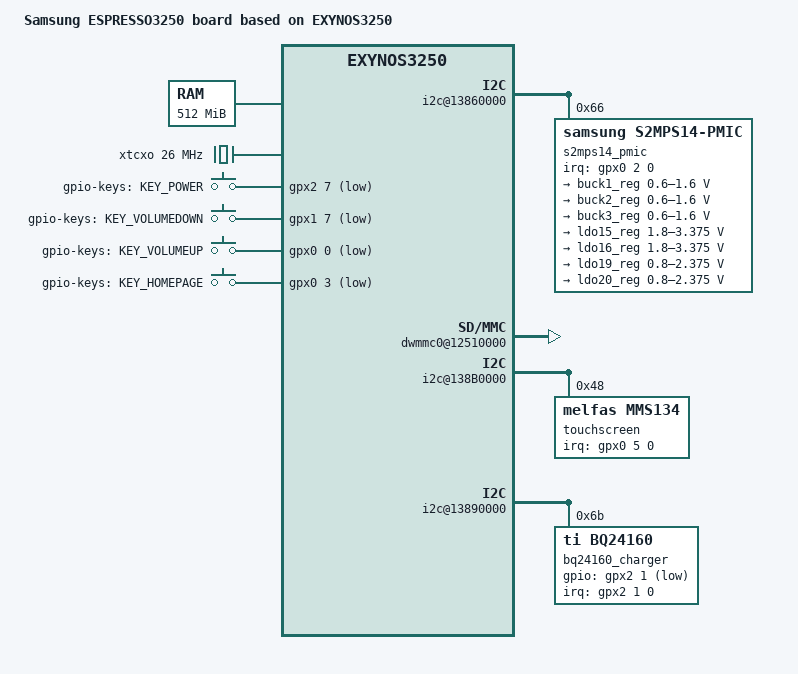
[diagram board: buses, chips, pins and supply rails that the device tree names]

/*
 * SAMSUNG ESPRESSO3250 board device tree source
 *
 * Copyright (c) 2014 Samsung Electronics Co., Ltd.
 *		http://www.samsung.com
 *
 * This program is free software; you can redistribute it and/or modify
 * it under the terms of the GNU General Public License version 2 as
 * published by the Free Software Foundation.
*/

/dts-v1/;
#include "exynos3250.dtsi"


/ {
	model = "Samsung ESPRESSO3250 board based on EXYNOS3250";
	compatible = "samsung,ESPRESSO3250", "samsung,exynos3250";

	chosen {
		bootargs = "console=ttySAC2,115200 vmalloc=256M";
	};

	memory {
		reg = <0x40000000 0x20000000>;
	};

	fixed-rate-clocks {
		#address-cells = <1>;
		#size-cells = <0>;

		xrtcxti: clock@0 {
			compatible = "fixed-clock";
			reg = <0>;
			clock-frequency = <32768>;
			#clock-cells = <0>;
			clock-output-names = "xrtcxti";
		};

		xusbxti: clock@1 {
			compatible = "fixed-clock";
			clock-frequency = <24000000>;
			reg = <1>;
			#clock-cells = <0>;
			clock-output-names = "xusbxti";
		};

		xxti: clock@2 {
			compatible = "fixed-clock";
			reg = <2>;
			clock-frequency = <0>;
			#clock-cells = <0>;
			clock-output-names = "xxti";
			};

		xtcxo: clock@3 {
			compatible = "fixed-clock";
			reg = <3>;
			clock-frequency = <26000000>;
			#clock-cells = <0>;
			clock-output-names = "xtcxo";
		};
	};

	gpio_keys {
		compatible = "gpio-keys";
		#address-cells = <1>;
		#size-cells = <0>;

		button@1 {
			label = "gpio-keys: KEY_POWER";
			linux,code = <116>;
			gpios = <&gpx2 7 0x1>;
			gpio-key,wakeup = <1>;
			debounce-interval = <0>;
		};

		button@2 {
			label = "gpio-keys: KEY_VOLUMEDOWN";
			linux,code = <114>;
			gpios = <&gpx1 7 0x1>;
			debounce-interval = <0>;
		};

		button@3 {
			label = "gpio-keys: KEY_VOLUMEUP";
			linux,code = <115>;
			gpios = <&gpx0 0 0x1>;
			debounce-interval = <0>;
		};

		button@4 {
			label = "gpio-keys: KEY_HOMEPAGE";
			linux,code = <172>;
			gpios = <&gpx0 3 0x1>;
			debounce-interval = <0>;
		};
	};

	i2c@13860000 {
		status = "okay";
		samsung,i2c-sda-delay = <100>;
		samsung,i2c-max-bus-freq = <400000>;
		#size-cells = <0>;

		s2mps14_pmic@66 {
			compatible = "samsung,s2mps14-pmic";
			reg = <0x66>;
			interrupts = <2 0 0>;
			interrupt-parent = <&gpx0>;
			pinctrl-names = "default";
			pinctrl-0 = <&pmic_irq &pm_wrsti>;
			/* RTC: wtsr/smpl */
                        wtsr_en = <1>; /* enable */
                        smpl_en = <1>; /* enable */
                        wtsr_timer_val = <3>;   /* 1000ms */
                        smpl_timer_val = <4>;   /* 500ms */
                        check_jigon = <0>; /* do not check jigon */
                        /* RTC: If it's first boot, reset rtc to 1/1/2014 12:00:00(Wed) */
                        init_time,sec = <0>;
                        init_time,min = <0>;
                        init_time,hour = <12>;
                        init_time,mday = <1>;
                        init_time,mon = <0>;
                        init_time,year = <114>;
                        init_time,wday = <3>;

			regulators {
				buck1_reg: BUCK1 {
					regulator-name = "vdd_mif";
					regulator-min-microvolt = <600000>;
					regulator-max-microvolt = <1600000>;
					regulator-always-on;
					regulator-boot-on;
					regulator-ramp-delay = <12000>;
					regulator-initial-mode = <1>;
				};

				buck2_reg: BUCK2 {
					regulator-name = "vdd_arm";
					regulator-min-microvolt = <600000>;
					regulator-max-microvolt = <1600000>;
					regulator-always-on;
					regulator-boot-on;
					regulator-ramp-delay = <12000>;
					regulator-initial-mode = <1>;
				};

				buck3_reg: BUCK3 {
					regulator-name = "vdd_int";
					regulator-min-microvolt = <600000>;
					regulator-max-microvolt = <1600000>;
					regulator-always-on;
					regulator-boot-on;
					regulator-ramp-delay = <12000>;
					regulator-initial-mode = <1>;
				};

				ldo15_reg: LDO15 {
					regulator-name = "vdd_tsp_3.3";
					regulator-min-microvolt = <1800000>;
					regulator-max-microvolt = <3375000>;
					regulator-always-on;
					regulator-boot-on;
					regulator-ramp-delay = <12000>;
					regulator-initial-mode = <1>;
				};

				ldo16_reg: LDO16 {
					regulator-name = "vdd_lcd_3.3";
					regulator-min-microvolt = <1800000>;
					regulator-max-microvolt = <3375000>;
					regulator-always-on;
					regulator-boot-on;
					regulator-ramp-delay = <12000>;
					regulator-initial-mode = <1>;
				};

				ldo19_reg: LDO19 {
					regulator-name = "vdd_tsp_1.8";
					regulator-min-microvolt = <800000>;
					regulator-max-microvolt = <2375000>;
					regulator-always-on;
					regulator-boot-on;
					regulator-ramp-delay = <12000>;
					regulator-initial-mode = <1>;
				};
				ldo20_reg: LDO20 {
					regulator-name = "vdd_lcd_1.8";
					regulator-min-microvolt = <800000>;
					regulator-max-microvolt = <2375000>;
					regulator-always-on;
					regulator-boot-on;
					regulator-ramp-delay = <12000>;
					regulator-initial-mode = <1>;
				};
			};
		};
	};

	dwmmc0@12510000 {
		status = "okay";
		num-slots = <1>;
		broken-cd;
		bypass-smu;
		fixed_volt;
		only_once_tune;
		extra_tuning;
		supports-highspeed;
		enable-cache-control;
		sw_data_timeout;
		fifo-depth = <0x80>;
		card-detect-delay = <200>;
		samsung,dw-mshc-ciu-div = <3>;
		samsung,dw-mshc-sdr-timing = <3 0 2 1>;
		samsung,dw-mshc-ddr-timing = <3 0 4 2>;
		samsung,dw-mshc-hs200-timing = <3 0 2 0>;
		samsung,dw-mshc-ddr200-timing = <1 1 2 0>;
		clk_pin = "gpk0-0";
		clk_addr = "11000000.pinctrl";
		clk_val = <0x3>;
		num-ref-clks = <8>;
		ciu_clkin = <50 50 50 100 100 100 100 200>;
		pinctrl-names = "default";
		pinctrl-0 = <&sd0_clk &sd0_cmd &sd0_bus1 &sd0_bus4 &sd0_bus8>;

		slot@0 {
			reg = <0>;
			bus-width = <8>;
		};
	};

        ion {
                compatible = "samsung,exynos5430-ion";

		contig-names = "mfc_sh",
				"video",
				"mfc_fw",
				"mfc_nfw";

		contig = <2 0x100000 0x0>,
			<11 0xA00000 0x0>,
			<8 0x100000 0x0>,
			<12 0x100000 0x0>;

                ion_noncontig_heap {
                        id-type = <0 0>;
                };

		exynos_contig_heap {
			id-type = <4 6>;
		};

        };

	i2c@138B0000 {
		samsung,i2c-sda-delay = <100>;
		samsung,i2c-max-bus-freq = <400000>;
		#size-cells = <0>;
		status = "okay";

		touchscreen@48 {
			compatible = "melfas, mms134";
			reg = <0x48>;
			interrupts = <5 0 0>;
			interrupt-parent = <&gpx0>;
			max_x = <480>;
			max_y = <800>;
		};
	};

	i2c@13890000 {
		samsung,i2c-sda-delay = <100>;
		samsung,i2c-max-bus-freq = <400000>;
		#address-cells = <1>;
		#size-cells = <0>;
		status = "okay";

		bq24160_charger@6b {
			compatible = "ti,bq24160";
			reg = <0x6b>;
			gpios = <&gpx2 1 1>;
			interrupts = <1 0 0>;
			interrupt-parent = <&gpx2>;
			pinctrl-names = "default";
			pinctrl-0 = <&chg_irq>;
			dev_name = "bq24160";
			support_boot_charging = <0>;
		};
	};

	sysreg_localout: sysreg_localout@10010000 {
		compatible = "samsung,exynos5-sysreg_localout";
		reg = <0x10010000 0x2000>;
	};

	mdev_0: mdev_output {
		compatible = "samsung,exynos5-mdev";
	};

	 fimd_fb: fimd_fb {
                /* gpx0[6]- TE external interrupt pin */
                gpios = <&gpx0 4 0xf>;
                fimd: fimd_ctrl {
                        samsung,left_margin = <1>;
                        samsung,right_margin = <1>;
                        samsung,upper_margin = <1>;
                        samsung,lower_margin = <1>;
                        samsung,hsync_len = <1>;
                        samsung,vsync_len = <1>;
                        samsung,xres = <480>;
                        samsung,yres = <800>;
                        samsung,virtual_x = <480>;
                        samsung,virtual_y = <800>;

                        samsung,width = <56>;
                        samsung,height = <94>;
                        samsung,max_bpp = <32>;
                        samsung,default_bpp = <24>;

                        fb_driver_data {
                                fb_win_variant_0 {
                                        has_osd_c = <1>;
                                        has_osd_d = <0>;
                                        has_osd_alpha = <0>;
                                        osd_size_off = <0x08>;
                                        palette_size = <256>;
                                        VALID_BPP_1248 = <1>;
                                        VALID_BPP_13 = <1>;
                                        VALID_BPP_15 = <1>;
                                        VALID_BPP_16 = <1>;
                                        VALID_BPP_18 = <1>;
                                        VALID_BPP_19 = <1>;
                                        VALID_BPP_24 = <1>;
                                        VALID_BPP_25 = <1>;
                                        VALID_BPP_32 = <1>;
                                };
                                fb_win_variant_1 {
                                        has_osd_c = <1>;
                                        has_osd_d = <1>;
                                        has_osd_alpha = <1>;
                                        osd_size_off = <0x0c>;
                                        palette_size = <256>;
                                        VALID_BPP_1248 = <1>;
                                        VALID_BPP_13 = <1>;
                                        VALID_BPP_15 = <1>;
                                        VALID_BPP_16 = <1>;
                                        VALID_BPP_18 = <1>;
                                        VALID_BPP_19 = <1>;
                                        VALID_BPP_24 = <1>;
                                        VALID_BPP_25 = <1>;
                                        VALID_BPP_32 = <1>;
                                };
                                fb_win_variant_2 {
                                        has_osd_c = <1>;
                                        has_osd_d = <1>;
                                        has_osd_alpha = <1>;
                                        osd_size_off = <0x0c>;
                                        palette_size = <256>;
                                        VALID_BPP_1248 = <1>;
                                        VALID_BPP_13 = <1>;
                                        VALID_BPP_15 = <1>;
                                        VALID_BPP_16 = <1>;
                                        VALID_BPP_18 = <1>;
                                        VALID_BPP_19 = <1>;
                                        VALID_BPP_24 = <1>;
                                        VALID_BPP_25 = <1>;
                                        VALID_BPP_32 = <1>;
                                };
                                fb_win_variant_3 {
                                        has_osd_c = <1>;
                                        has_osd_d = <0>;
                                        has_osd_alpha = <1>;
                                        osd_size_off = <0x0>;
                                        palette_size = <256>;
                                        VALID_BPP_1248 = <1>;
                                        VALID_BPP_13 = <1>;
                                        VALID_BPP_15 = <1>;
                                        VALID_BPP_16 = <1>;
                                        VALID_BPP_18 = <1>;
                                        VALID_BPP_19 = <1>;
                                        VALID_BPP_24 = <1>;
                                        VALID_BPP_25 = <1>;
                                        VALID_BPP_32 = <1>;
                                };
                                fb_win_variant_4 {
                                        has_osd_c = <1>;
                                        has_osd_d = <0>;
                                        has_osd_alpha = <1>;
                                        osd_size_off = <0x0>;
                                        palette_size = <256>;
                                        VALID_BPP_1248 = <1>;
                                        VALID_BPP_13 = <1>;
                                        VALID_BPP_15 = <1>;
                                        VALID_BPP_16 = <1>;
                                        VALID_BPP_18 = <1>;
                                        VALID_BPP_19 = <1>;
                                        VALID_BPP_24 = <1>;
                                        VALID_BPP_25 = <1>;
                                        VALID_BPP_32 = <1>;
                                };
                        };
                };

                mipi_dsi: mipi_dsi {
                        /* gpc0[0]-DISP_SEL(power1), gpc0[1]-Reset, gpc0[4]-LCD_BL_ON(power2) */
                        gpios = <&gpc0 0 0x1>, <&gpc0 1 0x1>, <&gpc0 4 0x1>;
                        interrupt-parent = <&gic>;
                        interrupts = <0 83 0>;

                        /* Interface definition: 0 - DSIM_COMMAND,
                                                 1 - DSIM_VIDEO */
                        e_interface = <0>;

                        /* Pixel format : 0 - DSIM_CMD_3BPP,
                                          1 - DSIM_CMD_8BPP,
                                          2 - DSIM_CMD_12BPP,
                                          3 - DSIM_CMD_16BPP,
                                          4 - DSIM_VID_16BPP_565,
                                          5 - DSIM_VID_18BPP_666PACKED,
                                          6 - DSIM_18BPP_666LOOSELYPACKED,
                                          7 - DSIM_24BPP_888 */
                        e_pixel_format = <7>;

                        /* main frame fifo auto flush at VSYNC pulse */
                        auto_flush = <0>;
                        eot_disable = <0>;
                        auto_vertical_cnt = <0>;
                        hse = <0>;
                        hfp = <0>;
                        hbp = <0>;
                        hsa = <0>;

                        /* num of data lane : 0 - DSIM_DATA_LANE_1,
                                              1 - DSIM_DATA_LANE_2,
                                              2 - DSIM_DATA_LANE_3,
                                              3 - DSIM_DATA_LANE_4 */
                        e_no_data_lane = <1>;

                        /* byte clock divider : 0 - DSIM_PLL_OUT_DIV8,
                                                1 - DSIM_EXT_CLK_DIV8,
                                                2 - DSIM_EXT_CLK_BYPASS */
                        e_byte_clk = <0>;

                        /* Burst mode : 0 - DSIM_NON_BURST_SYNC_EVENT,
                                        2 - DSIM_NON_BURST_SYNC_PULSE,
                                        1 - DSIM_BURST
                                        4 - DSIM_NON_VIDEO_MODE */
                        e_burst_mode = <1>;

                        /* PMS
                           - 1. LCD_S6E8AA0 : p - 4, m - 80, s - 2
                           - 2. LCD_S6E3FA0(COMMAND): p - 2, m - 46, s - 1
                           - 3. LCD_S6E3FA0(VIDEO): p - 4, m - 75, s - 1
                           - 4. LCD_S6E3HA0(COMMAND): p - 2, m - 46, s - 1
                           - 5. LCD_S6E63J0X03(CMD):  p - 3, m - 125, s -1 */
                        p = <2>;
                        m = <42>;
                        s = <0>;

                        /* D-PHY PLL stable time spec :min = 200usec ~ max 400usec */
                        pll_stable_time = <500>;
                        /* escape clk : 20MHz */
                        esc_clk = <20000000>;
                        /* stop state holding counter after bta change count 0 ~ 0xfff */
                        stop_holding_cnt = <0x0fff>;
                        /* bta timeout 0 ~ 0xff */
                        bta_timeout = <0xff>;
                        /* lp rx timeout 0 ~ 0xffff */
                        rx_timeout = <0xffff>;
                };
        };
};
